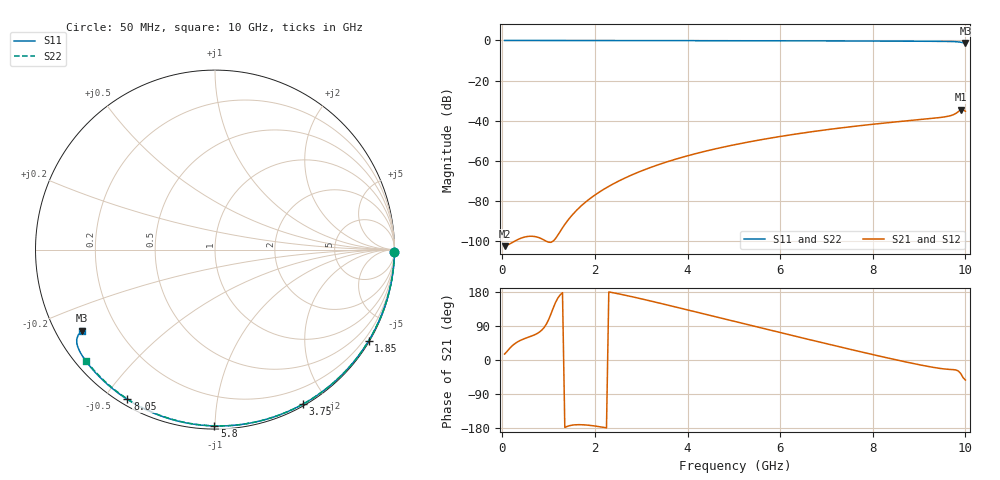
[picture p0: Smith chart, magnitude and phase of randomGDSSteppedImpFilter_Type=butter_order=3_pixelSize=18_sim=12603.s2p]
! freq	dB(S11)	phase(S11)	dB(S12)	phase(S12)
!  dB(S21)	phase(S21)	dB(S22)	phase(S22)
!S-par simulation data
#  GHz  S  DB  R 50
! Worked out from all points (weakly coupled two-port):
!   200 points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, 50 MHz to 10 GHz, reference 50 ohm
!   highest |S21| = -34.38 dB at 9.9 GHz (marker M1); lowest = -102.4 dB at 50 MHz (marker M2)
!   lowest |S11| = -1.2 dB at 10 GHz (marker M3), VSWR 14.16, Z = 3.81 - j14 ohm
!   |S11| at or under -10 dB: nowhere
!   |S22| runs from -0.5 to 0.0 dB; largest |S21 - S12| = 0
!   S11 on the Smith chart (normalised r, x): 50 MHz: open; 1.85 GHz: 0.03, -3.65; 3.75 GHz: 0.02, -1.72; 5.8 GHz: 0.02, -1.00; 8.05 GHz: 0.02, -0.57; 10 GHz: 0.08, -0.28
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0.05  -0.00 -0.8  -102.38 15.7  -102.38 15.7  -0.00 -0.8
0.9  -0.02 -15.1  -99.30 85.2  -99.30 85.2  -0.02 -14.5
1.75  -0.04 -29.0  -81.38 -171.0  -81.38 -171.0  -0.04 -27.9
1.8  -0.04 -29.8  -80.40 -171.4  -80.40 -171.4  -0.04 -28.6
1.85  -0.04 -30.6  -79.48 -172.0  -79.48 -172.0  -0.04 -29.4
2.15  -0.05 -35.5  -74.65 -177.0  -74.65 -177.0  -0.04 -34.1
2.5  -0.05 -41.1  -70.13 174.9  -70.13 174.9  -0.05 -39.4
2.9  -0.06 -47.4  -65.91 164.3  -65.91 164.3  -0.06 -45.5
3.4  -0.07 -55.1  -61.60 150.0  -61.60 150.0  -0.07 -53.0
3.75  -0.08 -60.5  -59.05 139.6  -59.05 139.6  -0.08 -58.1
4.35  -0.10 -69.4  -55.32 121.7  -55.32 121.7  -0.10 -66.7
5.05  -0.12 -79.6  -51.74 100.6  -51.74 100.6  -0.12 -76.5
5.8  -0.15 -90.2  -48.55 78.3  -48.55 78.3  -0.15 -86.7
6.7  -0.20 -102.5  -45.37 51.8  -45.37 51.8  -0.19 -98.5
8.05  -0.29 -120.3  -41.59 12.9  -41.59 12.9  -0.28 -115.5
8.35  -0.32 -124.3  -40.88 4.6  -40.88 4.6  -0.30 -119.2
9.05  -0.39 -133.6  -39.32 -13.6  -39.32 -13.6  -0.37 -127.8
9.6  -0.48 -141.8  -37.85 -24.3  -37.85 -24.3  -0.42 -134.4
9.75  -0.56 -144.7  -36.84 -25.5  -36.84 -25.5  -0.44 -136.2
9.9  -0.92 -148.0  -34.38 -35.8  -34.38 -35.8  -0.45 -138.1
9.95  -1.11 -148.3  -34.48 -46.5  -34.48 -46.5  -0.45 -138.7
10  -1.23 -148.6  -35.25 -52.8  -35.25 -52.8  -0.46 -139.3
